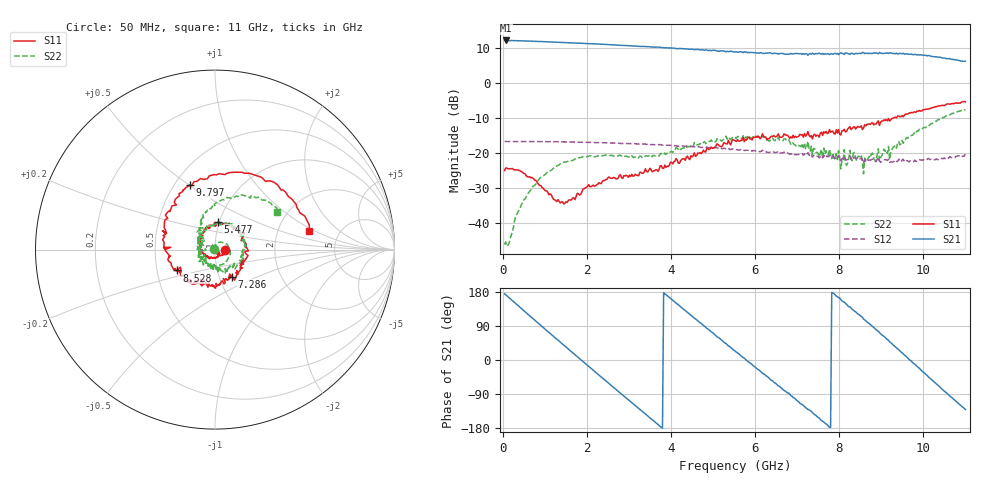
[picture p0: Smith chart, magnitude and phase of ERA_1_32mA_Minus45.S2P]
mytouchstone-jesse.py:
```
"""
This is the "touchstone" module.

The touchstone module supplies one class, Touchstone.  For example,

>>> from touchstone import Touchstone
>>> touch = Touchstone('ERA_1_32mA_Minus45.S2P')
>>> dir(touch)
['FormatError', '__doc__', '__init__', '__module__', 'db_table', 'lines', 'make_json', 'parse']
>>>
"""
import itertools
import json

class Touchstone:
    """Parse Touchstone S2P files

    Returns a class that can parse a touchstone file to json

    >>> from touchstone import Touchstone
    >>> touch = Touchstone('ERA_1_32mA_Minus45.S2P')
    >>> touch.parse()
    >>> touch.options
    ['#', 'MHz', 'S', 'DB', 'R', '50']
    >>> some_json = touch.make_json()
    >>> some_json[-100:]
    '0000", "PHS(S21)": "163.697", "dB(S11)": "-14.706"}}, "options": ["#", "MHz", "S", "DB", "R", "50"]}'
    >>>
    """

    def __init__(self,filename):
        self.filename = filename
        if filename:
            f = open(filename)
            self.lines = f.readlines()
        else:
            self.lines = readlines()

    class FormatError(Exception):
        def __init__(self, value):
            self.value = value
        def __str__(self):
            return repr(self.value)

    def  parse(self):
        header = []
        option_line = ""
        column_name_line = ""
        column_names = []
        data = {}
        additional_comments = []

        expecting_fields = False
        for line in open(self.filename):
            if line.startswith('!'):
                if expecting_fields:
                    column_names = line.split()[1:]
                    expecting_fields = False
                else:
                    header.append(line)
            elif line.startswith('#'):
                options = line.split()
                if len(options) != 6:
                    raise FormatError("Touchstone file should have 5 options")
                if options[4] != 'R':
                    raise FormatError("Touchstone options missing 'R'")
                self.frequency = options[1]
                self.parameters = options[2]
                self.format = options[3]
                self.ohms = options[5]
                expecting_fields = True
            else:
                if not header:
                    raise FormatError("Touchstone file without column names")
                # OPERATE
                line = line.strip()
                if not line:
                    continue
                values = line.split()
                frequency = values[0]
                if frequency in data:
                    raise FormatError(
                        "Touchstone duplicate frequency: %s" % frequency)
                data[frequency] = dict(zip(column_names,values))  
                self.post(data)
                data = {}
                # POST data
                # data = {}
        self.header = header
        self.options = options
        self.data = data
       
    def post(self, data):
        url = "http://localhost:18080/vnadata/tahoe-vna-2015-06-02-1600"
        headers = {'Content-type': 'application/json', 'Accept': 'text/plain'}
        r = requests.post(url, data=data, headers=headers)

    def make_json(self):
        touchstone_json = json.dumps({'header':self.header,
                                      'options':self.options,
                                      'data':self.data,
                                      'config':'TODO'})
        return touchstone_json

    def db_table(self):
        freqs = self.data.keys()
        freqs.sort(key=float)
        table_spec = """{
            cols: [{id: 'freq', label: 'Frequency', type: 'number'},
                   {id: 'db11', label: 'DB11', type: 'number'},
                   {id: 'db12', label: 'DB12', type: 'number'}],
            rows: ["""
        r = self.data[freqs[0]]
        table_spec += "{c:[{v: '%s'}, {v: '%s'}, {v: '%s'}]}," % (
                      float(freqs[0]),float(r['dB(S11)']),
                      float(r['dB(S12)']))
        rows = []
        for freq in freqs[1:]:
            r = self.data[freq]
            line = "                   "
            line += "{c:[{v: '%s'}, {v: '%s'}, {v: '%s'}]}," % (
                    float(freq),float(r['dB(S11)']),float(r['dB(S12)']))
            rows.append(line)
        table_spec += "\n"
        table_spec += "\n".join(rows)
        table_spec += """
                   ]
        }"""
        return table_spec

def make_db_table():
    """for debugging charts, only"""
    t = Touchstone('ERA_1_32mA_Minus45.S2P')
    t.parse()
    print t.db_table()

if __name__ == "__main__":
    import doctest
    doctest.testmod()
```
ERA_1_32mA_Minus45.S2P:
! Mini-Circuits
! S2P DATA File Format
! Type: MMIC Amplifier
! Model: ERA-1  Reference Data:RDF-960
! Note: All S Parameters are in dB deg format
! TEST CONDITIONS: INPUT POWER = -15dBm, Icc = 32mA, Vd = 3.50V @Temperature = -45degC
# MHz S DB R 50
!  FREQ  dB(S11)  PHS(S11)  dB(S21)  PHS(S21)  dB(S12)  PHS(S12)  dB(S22)  PHS(S22)
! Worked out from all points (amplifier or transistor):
!   401 points, 50 MHz to 11 GHz, reference 50 ohm
!   highest |S21| = 12.1 dB at 77 MHz (marker M1)
!   |S21| within 3 dB of that: start of sweep to 5.093 GHz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
!   unconditionally stable (mu >= 1): start of sweep to end of sweep
!   at 1.832 GHz: K = 1.21, MAG = 11.4 dB, |S12| = -16.9 dB
!   at 5.45 GHz: K = 1.67, MAG = 9.2 dB, |S12| = -18.9 dB
!   at 11 GHz: K = 1.62, MAG = 8.7 dB, |S12| = -20.3 dB
!   S11 on the Smith chart (normalised r, x): 50 MHz: 1.12, -0.01; 5.477 GHz: 0.99, +0.31; 7.286 GHz: 1.15, -0.36; 8.528 GHz: 0.63, -0.16; 9.797 GHz: 0.60, +0.51; 11 GHz: 3.02, +0.88
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50  -25.04 -3.3  12.12 174.6  -16.75 -4.3  -46.22 138.4
77  -24.34 -5.3  12.15 172.1  -16.75 -6.1  -45.44 133.9
1724  -33.36 -32.3  11.41 13.7  -16.93 -131.0  -21.76 1.2
2723  -27.45 -78.6  10.83 -80.1  -17.20 152.6  -20.98 -79.8
3722  -24.73 -141.3  10.24 -172.7  -17.63 76.3  -20.91 -175.0
5477  -16.19 83.4  8.89 27.7  -18.88 -58.3  -15.43 50.0
5531  -16.49 78.9  8.86 23.3  -18.96 -62.5  -15.58 44.3
7286  -15.02 -58.2  8.24 -131.6  -20.63 164.3  -18.56 -74.3
8528  -12.28 -151.5  8.40 114.8  -21.47 73.1  -20.54 177.7
9797  -8.27 110.9  8.15 -10.7  -22.06 -10.2  -14.25 108.2
11003  -5.42 11.2  6.23 -130.8  -20.35 -93.6  -7.80 31.4
